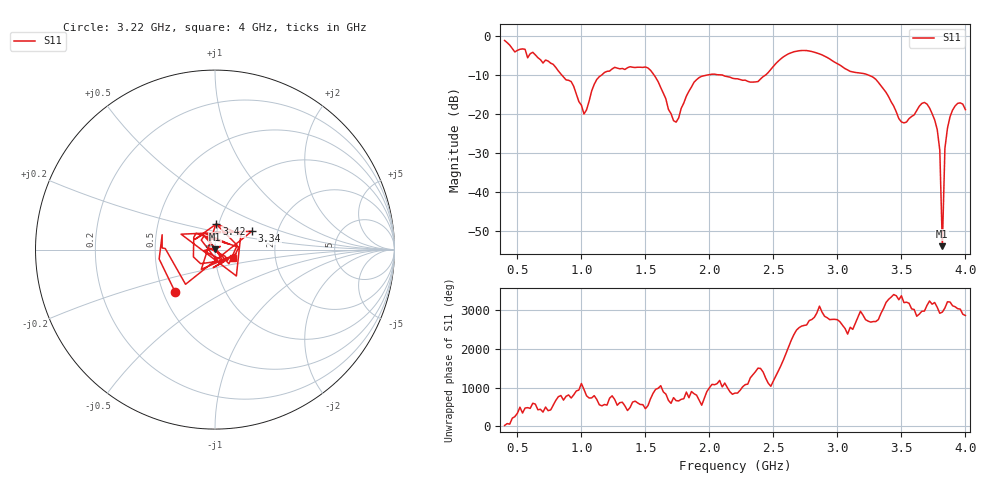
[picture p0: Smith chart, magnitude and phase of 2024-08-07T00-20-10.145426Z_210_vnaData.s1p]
!Created with skrf (http://scikit-rf.org).
# Hz S RI R 50.0
!freq ReS11 ImS11
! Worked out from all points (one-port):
!   181 points, 400 MHz to 4 GHz, reference 50 ohm
!   lowest |S11| = -53.8 dB at 3.82 GHz (marker M1), VSWR 1.00, Z = 50.1 + j0.18 ohm
!   |S11| at or under -10 dB: 1.566 GHz to 1.991 GHz (424.5 MHz wide, 23.9 % of centre); 2.079 GHz to 2.441 GHz (361.2 MHz wide, 16 % of centre); 3.238 GHz to end of sweep (the widest 3 of 4)
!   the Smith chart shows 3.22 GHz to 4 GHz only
!   S11 on the Smith chart (normalised r, x): 3.22 GHz: 0.58, -0.31; 3.34 GHz: 1.48, +0.32; 3.42 GHz: 0.97, +0.28; 4 GHz: 1.22, -0.12
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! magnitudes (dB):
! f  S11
! 400 MHz  -1.2
! 860 MHz  -10.5
! 920 MHz  -11.7
! 1.02 GHz  -20.0
! 1.12 GHz  -11.2
! 1.3 GHz  -8.5
! 1.52 GHz  -8.2
! 1.6 GHz  -11.8
! 1.72 GHz  -21.7
! 1.76 GHz  -21.0
! 1.92 GHz  -10.7
! 2.2 GHz  -11.0
! 2.38 GHz  -11.7
! 2.66 GHz  -4.1
! 3.1 GHz  -9.1
! 3.22 GHz  -9.8
! 3.34 GHz  -12.8
! 3.42 GHz  -16.9
! 3.5 GHz  -22.0
! 3.56 GHz  -21.2
! 3.68 GHz  -17.1
! 3.78 GHz  -24.0
! 3.8 GHz  -29.3
! 3.82 GHz  -53.8
! 3.84 GHz  -28.8
! 3.86 GHz  -23.6
! 3.92 GHz  -17.9
! 4 GHz  -18.9
